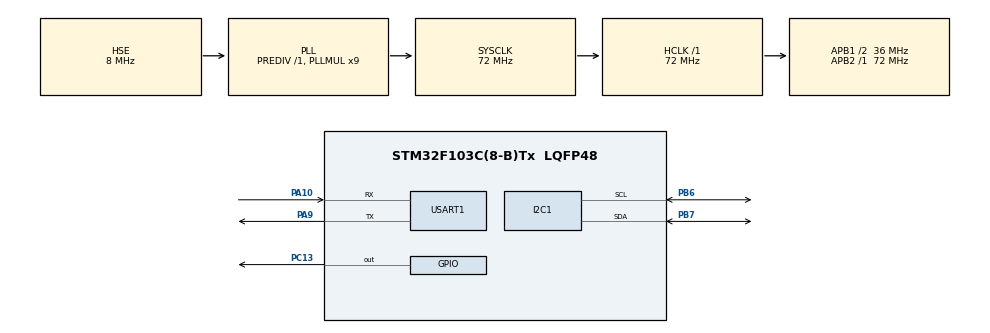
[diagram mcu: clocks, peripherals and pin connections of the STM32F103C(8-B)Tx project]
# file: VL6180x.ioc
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FREERTOS.Tasks01=defaultTask,24,128,StartDefaultTask,Default,NULL,Dynamic,NULL,NULL;Vl6180x,8,128,StartTask02,Default,NULL,Dynamic,NULL,NULL;LED_like,8,128,StartTask03,Default,NULL,Dynamic,NULL,NULL
I2C1.NoStretchMode=I2C_NOSTRETCH_DISABLE
Mcu.Family=STM32F1
Mcu.Name=STM32F103C(8-B)Tx
Mcu.Package=LQFP48
NVIC.PriorityGroup=NVIC_PRIORITYGROUP_4
NVIC.TIM4_IRQn=true\:15\:0\:false\:false\:true\:false\:false\:true\:true
NVIC.TimeBase=TIM4_IRQn
NVIC.TimeBaseIP=TIM4
PA10.Mode=Asynchronous
PA10.Signal=USART1_RX
PA13.Mode=Serial_Wire
PA13.Signal=SYS_JTMS-SWDIO
PA14.Mode=Serial_Wire
PA14.Signal=SYS_JTCK-SWCLK
PA9.Mode=Asynchronous
PA9.Signal=USART1_TX
PB6.Mode=I2C
PB6.Signal=I2C1_SCL
PB7.Mode=I2C
PB7.Signal=I2C1_SDA
PC13-TAMPER-RTC.Signal=GPIO_Output
PC14-OSC32_IN.Mode=LSE-External-Oscillator
PC14-OSC32_IN.Signal=RCC_OSC32_IN
PC15-OSC32_OUT.Mode=LSE-External-Oscillator
PC15-OSC32_OUT.Signal=RCC_OSC32_OUT
PD0-OSC_IN.Mode=HSE-External-Oscillator
PD0-OSC_IN.Signal=RCC_OSC_IN
PD1-OSC_OUT.Mode=HSE-External-Oscillator
PD1-OSC_OUT.Signal=RCC_OSC_OUT
ProjectManager.HeapSize=0x200
ProjectManager.StackSize=0x400
ProjectManager.TargetToolchain=CMake
RCC.AHBFreq_Value=72000000
RCC.APB1CLKDivider=RCC_HCLK_DIV2
RCC.APB1Freq_Value=36000000
RCC.APB1TimFreq_Value=72000000
RCC.APB2Freq_Value=72000000
RCC.APB2TimFreq_Value=72000000
RCC.HCLKFreq_Value=72000000
RCC.PLLMUL=RCC_PLL_MUL9
RCC.PLLSourceVirtual=RCC_PLLSOURCE_HSE
RCC.SYSCLKFreq_VALUE=72000000
RCC.SYSCLKSource=RCC_SYSCLKSOURCE_PLLCLK
RCC.USBFreq_Value=72000000
USART1.VirtualMode=VM_ASYNC
VP_FREERTOS_VS_CMSIS_V2.Mode=CMSIS_V2
VP_SYS_VS_tim4.Mode=TIM4
board=custom

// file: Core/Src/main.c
/* USER CODE BEGIN Header */
/**
  ******************************************************************************
  * @file           : main.c
  * @brief          : Main program body
  ******************************************************************************
  * @attention
  *
  * Copyright (c) 2026 STMicroelectronics.
  * All rights reserved.
  *
  * This software is licensed under terms that can be found in the LICENSE file
  * in the root directory of this software component.
  * If no LICENSE file comes with this software, it is provided AS-IS.
  *
  ******************************************************************************
  */
/* USER CODE END Header */
#include "main.h"
#include "cmsis_os.h"
#include "i2c.h"
#include "usart.h"
#include "gpio.h"

/* USER CODE BEGIN Includes */
#include <stdio.h>
#include "Vl6180x_i2c.h"
/* USER CODE END Includes */

/* USER CODE BEGIN PD */
#define VL6180X_ADDR (0x29 << 1)

// 核心寄存器地址

/* USER CODE END PD */

/* USER CODE BEGIN PV */
volatile uint8_t measure_mode = 1; // 0=未测量，1=单次，2=连续
/* USER CODE END PV */

void SystemClock_Config(void);
void MX_FREERTOS_Init(void);

int main(void)
{

  /* MCU Configuration--------------------------------------------------------*/

  /* Reset of all peripherals, Initializes the Flash interface and the Systick. */
  HAL_Init();

  /* Configure the system clock */
  SystemClock_Config();

  /* Initialize all configured peripherals */

  MX_GPIO_Init();
  MX_I2C1_Init();
  MX_USART1_UART_Init();
  /* USER CODE BEGIN 2 */
  VL6180X_Init(); // 初始化 VL6180X 传感器
  printf("Base Hardware Init OK!\r\n"); // <--- 测试串口是否活着
  /* USER CODE END 2 */

  /* Init scheduler */
  osKernelInitialize();

  /* Call init function for freertos objects (in cmsis_os2.c) */
  MX_FREERTOS_Init();

  /* Start scheduler */
  osKernelStart();

  /* We should never get here as control is now taken by the scheduler */

  /* Infinite loop */
while (1)
{

  }
}

void SystemClock_Config(void)
{
  RCC_OscInitTypeDef RCC_OscInitStruct = {0};
  RCC_ClkInitTypeDef RCC_ClkInitStruct = {0};

  /** Initializes the RCC Oscillators according to the specified parameters
  * in the RCC_OscInitTypeDef structure.
  */
  RCC_OscInitStruct.OscillatorType = RCC_OSCILLATORTYPE_HSE;
  RCC_OscInitStruct.HSEState = RCC_HSE_ON;
  RCC_OscInitStruct.HSEPredivValue = RCC_HSE_PREDIV_DIV1;
  RCC_OscInitStruct.HSIState = RCC_HSI_ON;
  RCC_OscInitStruct.PLL.PLLState = RCC_PLL_ON;
  RCC_OscInitStruct.PLL.PLLSource = RCC_PLLSOURCE_HSE;
  RCC_OscInitStruct.PLL.PLLMUL = RCC_PLL_MUL9;
  if (HAL_RCC_OscConfig(&RCC_OscInitStruct) != HAL_OK)
  {
    Error_Handler();
  }

  /** Initializes the CPU, AHB and APB buses clocks
  */
  RCC_ClkInitStruct.ClockType = RCC_CLOCKTYPE_HCLK|RCC_CLOCKTYPE_SYSCLK
                              |RCC_CLOCKTYPE_PCLK1|RCC_CLOCKTYPE_PCLK2;
  RCC_ClkInitStruct.SYSCLKSource = RCC_SYSCLKSOURCE_PLLCLK;
  RCC_ClkInitStruct.AHBCLKDivider = RCC_SYSCLK_DIV1;
  RCC_ClkInitStruct.APB1CLKDivider = RCC_HCLK_DIV2;
  RCC_ClkInitStruct.APB2CLKDivider = RCC_HCLK_DIV1;

  if (HAL_RCC_ClockConfig(&RCC_ClkInitStruct, FLASH_LATENCY_2) != HAL_OK)
  {
    Error_Handler();
  }
}

/* USER CODE BEGIN 4 */
int _write(int file, char *ptr, int len) {
    HAL_UART_Transmit(&huart1, (uint8_t *)ptr, len, 500);
    return len;
}
/* USER CODE END 4 */

void HAL_TIM_PeriodElapsedCallback(TIM_HandleTypeDef *htim)
{
  if (htim->Instance == TIM4) {
    HAL_IncTick();
  }
}

void Error_Handler(void)
{
  __disable_irq();
  while (1)
  {
  }
}

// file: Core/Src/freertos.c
/* USER CODE BEGIN Header */
/**
  ******************************************************************************
  * File Name          : freertos.c
  * Description        : Code for freertos applications
  ******************************************************************************
  * @attention
  *
  * Copyright (c) 2026 STMicroelectronics.
  * All rights reserved.
  *
  * This software is licensed under terms that can be found in the LICENSE file
  * in the root directory of this software component.
  * If no LICENSE file comes with this software, it is provided AS-IS.
  *
  ******************************************************************************
  */
/* USER CODE END Header */

#include "FreeRTOS.h"
#include "task.h"
#include "main.h"
#include "cmsis_os.h"

/* USER CODE BEGIN Includes */
#include <stdio.h>
#include "Vl6180x_i2c.h"
/* USER CODE END Includes */

/* USER CODE BEGIN Variables */
osMessageQueueId_t distQueueHandle;
/* USER CODE END Variables */
/* Definitions for defaultTask */
osThreadId_t defaultTaskHandle;
const osThreadAttr_t defaultTask_attributes = {
  .name = "defaultTask",
  .stack_size = 128 * 4,
  .priority = (osPriority_t) osPriorityNormal,
};
/* Definitions for Vl6180x */
osThreadId_t Vl6180xHandle;
const osThreadAttr_t Vl6180x_attributes = {
  .name = "Vl6180x",
  .stack_size = 128 * 4,
  .priority = (osPriority_t) osPriorityLow,
};
/* Definitions for LED_like */
osThreadId_t LED_likeHandle;
const osThreadAttr_t LED_like_attributes = {
  .name = "LED_like",
  .stack_size = 128 * 4,
  .priority = (osPriority_t) osPriorityLow,
};

void StartDefaultTask(void *argument);
void StartTask02(void *argument);
void StartTask03(void *argument);

void MX_FREERTOS_Init(void); /* (MISRA C 2004 rule 8.1) */

void MX_FREERTOS_Init(void) {

  /* USER CODE BEGIN RTOS_QUEUES */
  /* add queues, ... */
  distQueueHandle = osMessageQueueNew(10, sizeof(uint16_t), NULL);
  /* USER CODE END RTOS_QUEUES */

  /* Create the thread(s) */
  /* creation of defaultTask */
  defaultTaskHandle = osThreadNew(StartDefaultTask, NULL, &defaultTask_attributes);

  /* creation of Vl6180x */
  Vl6180xHandle = osThreadNew(StartTask02, NULL, &Vl6180x_attributes);

  /* creation of LED_like */
  LED_likeHandle = osThreadNew(StartTask03, NULL, &LED_like_attributes);

}

void StartDefaultTask(void *argument)
{
  for(;;)
  {
    osDelay(1);
  }
}

void StartTask02(void *argument)
{
  extern volatile uint8_t measure_mode;
  uint16_t distance = 0;
  uint8_t last_mode = 0;

  for(;;)
  {
    // --- 1. 处理模式切换的瞬间动作 ---
    if (measure_mode != last_mode)
    {
      if (measure_mode == 1) {
          VL6180X_Write8(0x0018, 0x01); // 停止连续
          printf("\r\n[Task 2] Switch to SINGLE Mode\r\n");
      }
      else if (measure_mode == 2) {
          VL6180X_Write8(0x0018, 0x03); // 启动硬件连续
          printf("\r\n[Task 2] Switch to CONTINUOUS Mode\r\n");
      }
      last_mode = measure_mode;
    }

    // --- 2. 正常的测距逻辑 ---
    if (measure_mode == 1)
    {
        distance = VL6180X_Read_Distance();
        osDelay(200); // 单次模式慢一点
    }
    else if (measure_mode == 2)
    {
        uint8_t raw_dist = VL6180X_Read8(0x0062);
        distance = (uint16_t)raw_dist;
        VL6180X_Write8(0x0015, 0x07);
        osDelay(50); // 连续模式快一点
    }

    osMessageQueuePut(distQueueHandle, &distance, 0U, 10);
  }
}

void StartTask03(void *argument)
{
  /* USER CODE BEGIN StartTask03 */
uint16_t received_dist = 0;
  printf("System UART Print Task Ready!\r\n");

  /* 只需要这一个无限循环 */
  for(;;)
  {
    // 1. 等待队列消息
    if (osMessageQueueGet(distQueueHandle, &received_dist, NULL, osWaitForever) == osOK)
    {
        // 2. 执行打印
        if (received_dist <= 255) {
            printf("Dist: %d mm\r\n", received_dist);
            printf("Frtos running\r\n");
        } else {
            printf("Sensor Error: %d\r\n", received_dist);
        }
        if (received_dist<100)
        {
          HAL_GPIO_TogglePin(GPIOC, GPIO_PIN_13);
        }
        else if (received_dist>=100)
        {
          HAL_GPIO_WritePin(GPIOC, GPIO_PIN_13, GPIO_PIN_SET);
          /* code */
        }

    }
  }
  /* USER CODE END StartTask03 */
}
